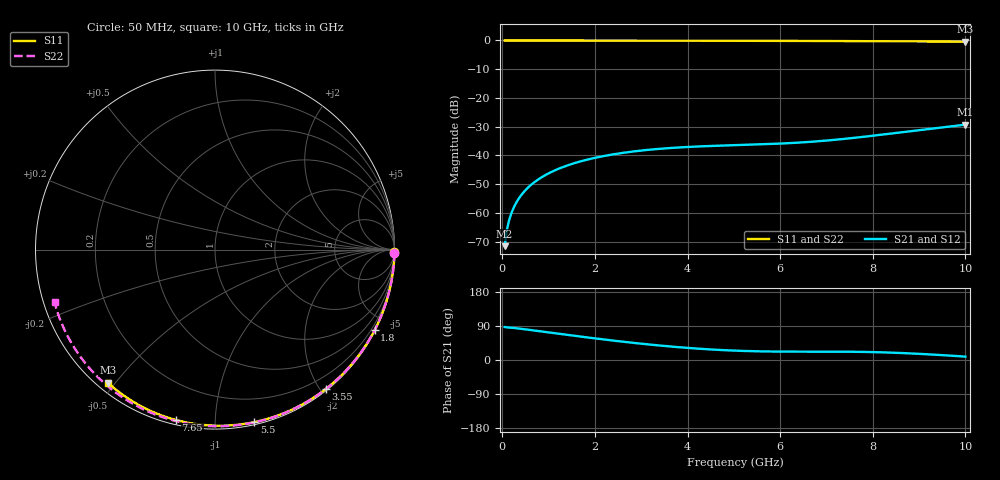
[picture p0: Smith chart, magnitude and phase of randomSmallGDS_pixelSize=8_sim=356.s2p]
! freq	dB(S11)	phase(S11)	dB(S12)	phase(S12)
!  dB(S21)	phase(S21)	dB(S22)	phase(S22)
!S-par simulation data
#  GHz  S  DB  R 50
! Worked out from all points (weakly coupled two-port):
!   200 points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, 50 MHz to 10 GHz, reference 50 ohm
!   highest |S21| = -29.30 dB at 10 GHz (marker M1); lowest = -71.6 dB at 50 MHz (marker M2)
!   lowest |S11| = -0.4 dB at 10 GHz (marker M3), VSWR 40.71, Z = 1.51 - j23.9 ohm
!   |S11| at or under -10 dB: nowhere
!   |S22| runs from -0.5 to 0.0 dB; largest |S21 - S12| = 0
!   S11 on the Smith chart (normalised r, x): 50 MHz: open; 1.8 GHz: 0.04, -4.21; 3.55 GHz: 0.02, -2.07; 5.5 GHz: 0.02, -1.25; 7.65 GHz: 0.02, -0.80; 10 GHz: 0.03, -0.48
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0.05  -0.00 -0.8  -71.59 86.9  -71.59 86.9  -0.00 -1.0
0.1  -0.00 -1.5  -65.80 86.1  -65.80 86.1  -0.00 -1.9
0.15  -0.00 -2.3  -62.39 85.6  -62.39 85.6  -0.00 -2.9
0.2  -0.00 -3.0  -59.95 85.1  -59.95 85.1  -0.00 -3.9
0.35  -0.00 -5.3  -55.16 83.1  -55.16 83.1  -0.01 -6.7
0.5  -0.01 -7.5  -52.10 80.9  -52.10 80.9  -0.01 -9.6
0.7  -0.01 -10.5  -49.23 77.7  -49.23 77.7  -0.02 -13.4
1  -0.02 -15.0  -46.25 72.8  -46.25 72.8  -0.02 -19.1
1.35  -0.03 -20.1  -43.81 67.2  -43.81 67.2  -0.03 -25.7
1.75  -0.03 -26.0  -41.82 60.9  -41.82 60.9  -0.04 -33.1
1.8  -0.03 -26.7  -41.61 60.1  -41.61 60.1  -0.04 -34.0
2.5  -0.05 -36.8  -39.36 49.8  -39.36 49.8  -0.06 -46.8
3.4  -0.07 -49.4  -37.70 38.2  -37.70 38.2  -0.08 -62.5
3.55  -0.07 -51.5  -37.52 36.5  -37.52 36.5  -0.09 -65.1
4.3  -0.09 -61.6  -36.84 29.3  -36.84 29.3  -0.11 -77.6
5.05  -0.11 -71.4  -36.43 24.6  -36.43 24.6  -0.14 -89.7
5.5  -0.12 -77.1  -36.20 23.0  -36.20 23.0  -0.16 -96.7
6.7  -0.18 -91.8  -35.22 22.0  -35.22 22.0  -0.22 -114.6
7.65  -0.23 -102.9  -33.80 21.6  -33.80 21.6  -0.29 -128.4
8.35  -0.28 -110.8  -32.49 19.7  -32.49 19.7  -0.35 -138.3
9.2  -0.35 -120.2  -30.82 15.0  -30.82 15.0  -0.43 -150.3
10  -0.43 -128.8  -29.30 8.9  -29.30 8.9  -0.52 -161.8
